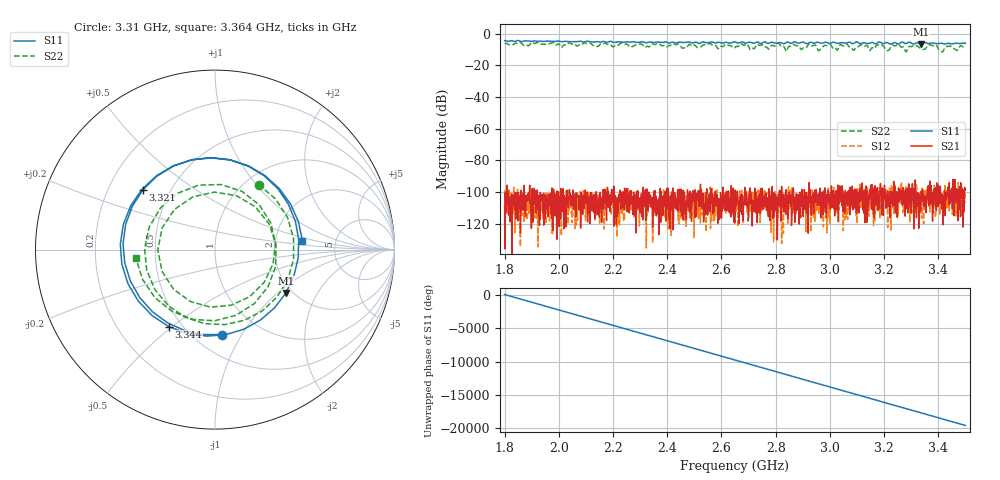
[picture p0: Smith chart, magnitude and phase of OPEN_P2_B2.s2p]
# Hz S RI R 50
! RAW DATA - UNCALIBRATED
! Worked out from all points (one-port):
!   1601 points, 1.8 GHz to 3.5 GHz, reference 50 ohm
!   lowest |S11| = -6.7 dB at 3.336 GHz (marker M1), VSWR 2.72, Z = 92.4 - j56.9 ohm
!   |S11| at or under -10 dB: nowhere
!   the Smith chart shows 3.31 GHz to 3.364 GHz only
!   S11 on the Smith chart (normalised r, x): 3.31 GHz: 0.68, -0.83; 3.321 GHz: 0.35, +0.32; 3.344 GHz: 0.42, -0.49; 3.364 GHz: 2.86, +0.38
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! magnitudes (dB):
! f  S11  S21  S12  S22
! 1.8 GHz  -4.4  -109.0  -107.2  -6.1
! 2.084 GHz  -4.9  -105.8  -100.2  -7.2
! 2.367 GHz  -5.3  -104.6  -111.3  -6.1
! 2.65 GHz  -5.1  -98.7  -106.1  -8.6
! 2.839 GHz  -5.5  -98.5  -107.4  -11.1
! 2.934 GHz  -5.6  -106.4  -102.2  -7.7
! 2.961 GHz  -5.6  -108.3  -101.3  -10.5
! 3.06 GHz  -5.9  -107.3  -116.1  -6.3
! 3.086 GHz  -6.3  -99.8  -106.9  -10.2
! 3.18 GHz  -5.2  -102.1  -110.1  -7.3
! 3.217 GHz  -6.2  -106.1  -104.8  -10.4
! 3.247 GHz  -6.2  -101.0  -99.2  -6.9
! 3.28 GHz  -6.2  -98.5  -96.8  -11.3
! 3.31 GHz  -6.5  -123.3  -112.5  -7.2
! 3.321 GHz  -5.7  -100.5  -103.3  -7.7
! 3.336 GHz  -6.7  -104.4  -103.5  -9.5
! 3.344 GHz  -6.0  -105.8  -104.2  -9.9
! 3.364 GHz  -6.2  -95.9  -99.4  -7.1
! 3.411 GHz  -6.0  -103.2  -108.1  -11.2
! 3.434 GHz  -6.1  -99.4  -109.9  -8.0
! 3.466 GHz  -6.0  -104.9  -115.1  -10.3
! 3.5 GHz  -5.9  -98.2  -106.6  -7.0
